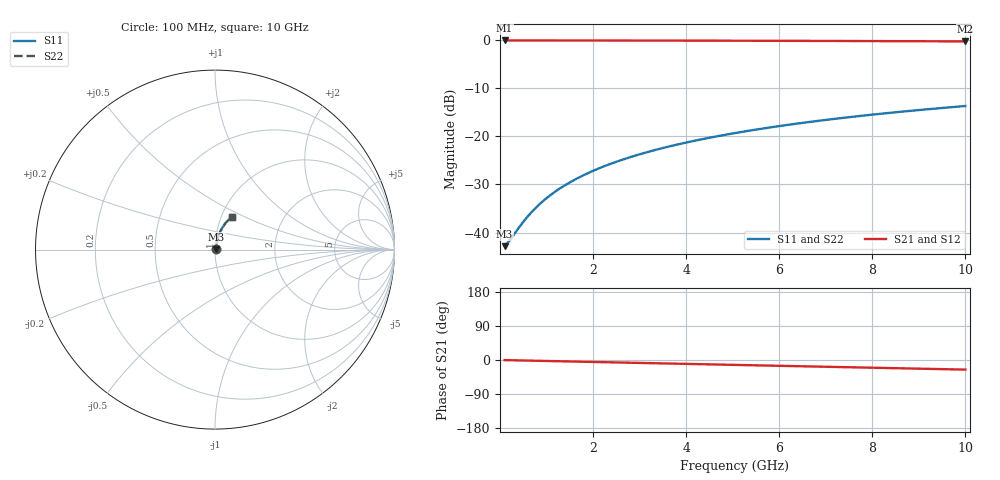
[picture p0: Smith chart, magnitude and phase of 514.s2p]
# Hz S RI R 50.00
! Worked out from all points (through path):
!   100 points, 100 MHz to 10 GHz, reference 50 ohm
!   highest |S21| = -0.06 dB at 100 MHz (marker M1); lowest = -0.3 dB at 10 GHz (marker M2)
!   group delay of S21, straight-line fit = 7.05 ps
!   lowest |S11| = -42.8 dB at 100 MHz (marker M3), VSWR 1.01, Z = 50.7 + j0.216 ohm
!   |S11| at or under -10 dB: start of sweep to end of sweep
!   |S22| runs from -42.8 to -13.7 dB; largest |S21 - S12| = 0
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1e8  0.0069 0.00213  0.9931 -0.00445  0.9931 -0.00445  0.0069 0.00213
2e8  0.00697 0.00427  0.993 -0.0089  0.993 -0.0089  0.00697 0.00427
4e8  0.00715 0.00853  0.9928 -0.0178  0.9928 -0.0178  0.00715 0.00853
5e8  0.00726 0.0107  0.9927 -0.0222  0.9927 -0.0222  0.00726 0.0107
6e8  0.00738 0.0128  0.9925 -0.0267  0.9925 -0.0267  0.00738 0.0128
7e8  0.00752 0.0149  0.9923 -0.0311  0.9923 -0.0311  0.00752 0.0149
9e8  0.00786 0.0192  0.9919 -0.04  0.9919 -0.04  0.00786 0.0192
1.1e9  0.00827 0.0234  0.9914 -0.0489  0.9914 -0.0489  0.00827 0.0234
1.3e9  0.00875 0.0277  0.9908 -0.0577  0.9908 -0.0577  0.00875 0.0277
1.5e9  0.00931 0.0319  0.9901 -0.0666  0.9901 -0.0666  0.00931 0.0319
1.8e9  0.0103 0.0382  0.9888 -0.0799  0.9888 -0.0799  0.0103 0.0382
2.1e9  0.0114 0.0445  0.9874 -0.0931  0.9874 -0.0931  0.0114 0.0445
2.5e9  0.0132 0.0528  0.9851 -0.1107  0.9851 -0.1107  0.0132 0.0528
2.9e9  0.0153 0.0611  0.9824 -0.1282  0.9824 -0.1282  0.0153 0.0611
3.4e9  0.0183 0.0713  0.9786 -0.15  0.9786 -0.15  0.0183 0.0713
4.2e9  0.024 0.0872  0.9712 -0.1845  0.9712 -0.1845  0.024 0.0872
5.1e9  0.0317 0.1046  0.9612 -0.2227  0.9612 -0.2227  0.0317 0.1046
5.9e9  0.0397 0.1194  0.9508 -0.2561  0.9508 -0.2561  0.0397 0.1194
6.7e9  0.0487 0.1336  0.939 -0.2888  0.939 -0.2888  0.0487 0.1336
7.5e9  0.0586 0.147  0.9259 -0.3208  0.9259 -0.3208  0.0586 0.147
8.4e9  0.0708 0.1612  0.9098 -0.3559  0.9098 -0.3559  0.0708 0.1612
1e10  0.095 0.1837  0.8775 -0.4156  0.8775 -0.4156  0.095 0.1837
